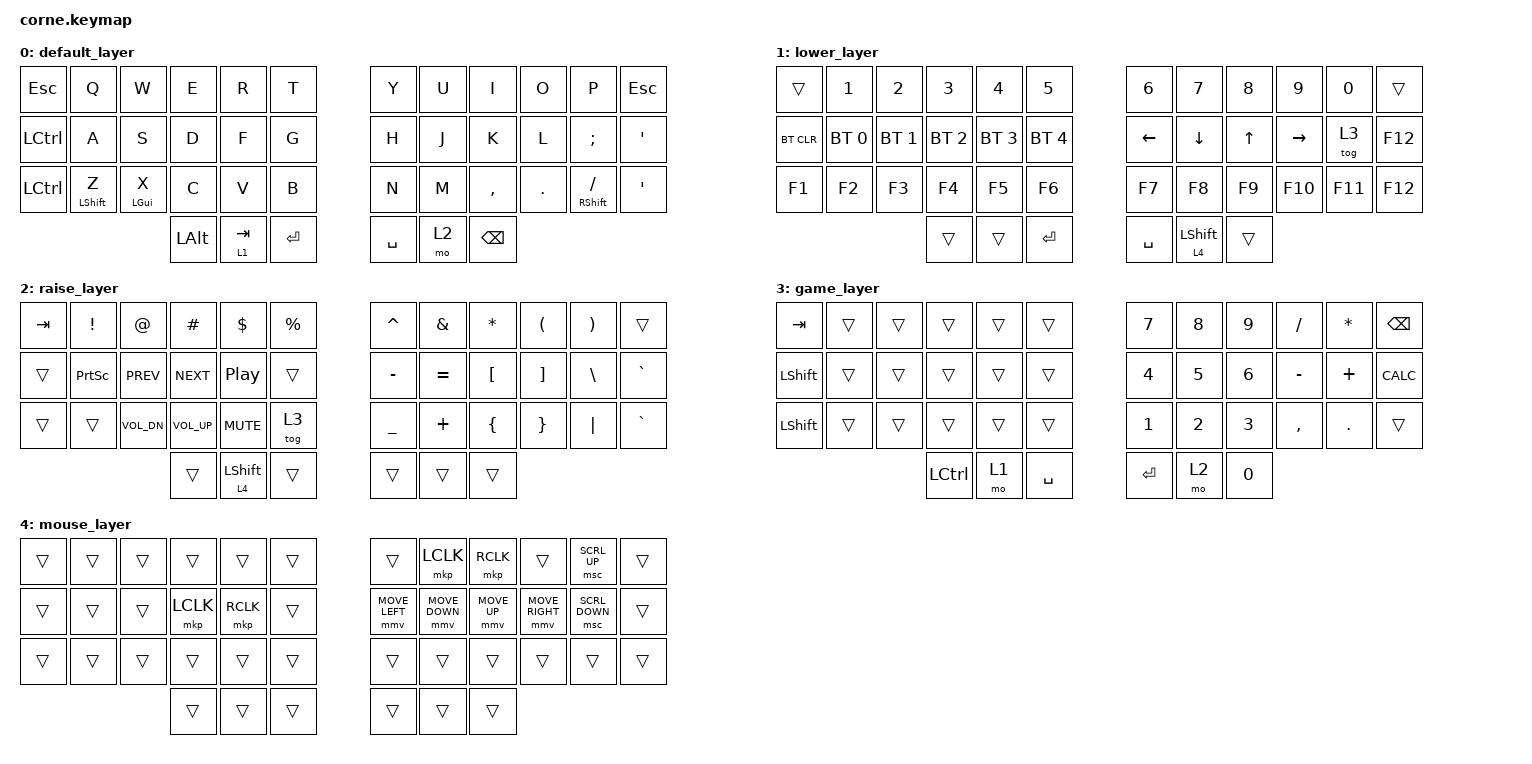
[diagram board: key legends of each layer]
/*
 * Copyright (c) 2020 The ZMK Contributors
 *
 * SPDX-License-Identifier: MIT
 */

#include <behaviors.dtsi>
#include <dt-bindings/zmk/bt.h>
#include <dt-bindings/zmk/keys.h>
#include <dt-bindings/zmk/outputs.h>
#include <dt-bindings/zmk/pointing.h>
#include <dt-bindings/zmk/pointing.h>
#include <dt-bindings/zmk/pointing.h>

#define ZMK_POINTING_DEFAULT_MOVE_VAL 1500
#define ZMK_POINTING_DEFAULT_SCRL_VAL 20

/ {
    combos {
        compatible = "zmk,combos";

        comboesc {
            bindings = <&kp ESC>;
            key-positions = <1 2>;
        };
    };

    keymap {
        compatible = "zmk,keymap";

        default_layer {
            // -----------------------------------------------------------------------------------------
            // |  TAB |  Q  |  W  |  E  |  R  |  T  |   |  Y  |  U   |  I  |  O  |  P  | BKSP |
            // | SHFT |  A  |  S  |  D  |  F  |  G  |   |  H  |  J   |  K  |  L  |  ;  |  '   |
            // | CTRL |  Z  |  X  |  C  |  V  |  B  |   |  N  |  M   |  ,  |  .  |  /  | ESC  |
            //                    | ALT | LWR | ENT |   | SPC | RSE  | GUI |

            bindings = <
&kp ESC    &kp Q             &kp W           &kp E     &kp R      &kp T      &kp Y      &kp U  &kp I      &kp O    &kp P                 &kp ESC
&kp LCTRL  &kp A             &kp S           &kp D     &kp F      &kp G      &kp H      &kp J  &kp K      &kp L    &kp SEMI              &kp SQT
&kp LCTRL  &mt LEFT_SHIFT Z  &mt LEFT_GUI X  &kp C     &kp V      &kp B      &kp N      &kp M  &kp COMMA  &kp DOT  &mt RIGHT_SHIFT FSLH  &kp SQT
                                             &kp LALT  &lt 1 TAB  &kp RET    &kp SPACE  &mo 2  &kp BSPC
            >;
        };

        lower_layer {
            // -----------------------------------------------------------------------------------------
            // |  TAB |  1  |  2  |  3  |  4  |  5  |   |  6  |  7  |  8  |  9  |  0  | BKSP |
            // | BTCLR| BT1 | BT2 | BT3 | BT4 | BT5 |   | LFT | DWN |  UP | RGT |     |  f12 |
            // | CTRL |  f1 | f2  |  f3 | f4  |  f5 |   |  f6 |  f7 |  f8 |  f9 |  f10 | f11 |
            //                    | ALT |     | ENT |   | SPC |     | GUI |

            bindings = <
&trans      &kp N1        &kp N2        &kp N3        &kp N4        &kp N5          &kp N6     &kp N7            &kp N8  &kp N9     &kp N0   &trans
&bt BT_CLR  &bt BT_SEL 0  &bt BT_SEL 1  &bt BT_SEL 2  &bt BT_SEL 3  &bt BT_SEL 4    &kp LEFT   &kp DOWN          &kp UP  &kp RIGHT  &tog 3   &kp F12
&kp F1      &kp F2        &kp F3        &kp F4        &kp F5        &kp F6          &kp F7     &kp F8            &kp F9  &kp F10    &kp F11  &kp F12
                                        &trans        &trans        &kp RET         &kp SPACE  &lt 4 LEFT_SHIFT  &trans
            >;
        };

        raise_layer {
            // -----------------------------------------------------------------------------------------
            // |  TAB |  !  |  @  |  #  |  $  |  %  |   |  ^  |  &  |  *  |  (  |  )  | BKSP |
            // | SHFT |PSCRN|C_PRV|C_NX | C_PP|     |   |  -  |  =  |  [  |  ]  |  \  |  `   |
            // | CTRL |     |V_DN | V_UP|V_MT | TG3 |   |  _  |  +  |  {  |  }  | "|" |  ~   |
            //                    | ALT |     | ENT |   | SPC |     | GUI |

            bindings = <
&kp TAB  &kp EXCL   &kp AT        &kp HASH      &kp DLLR          &kp PRCNT    &kp CARET  &kp AMPS   &kp ASTRK  &kp LPAR  &kp RPAR  &trans
&trans   &kp PSCRN  &kp C_PREV    &kp C_NEXT    &kp C_PP          &trans       &kp MINUS  &kp EQUAL  &kp LBKT   &kp RBKT  &kp BSLH  &kp GRAVE
&trans   &trans     &kp C_VOL_DN  &kp C_VOL_UP  &kp C_MUTE        &tog 3       &kp UNDER  &kp PLUS   &kp LBRC   &kp RBRC  &kp PIPE  &kp GRAVE
                                  &trans        &lt 4 LEFT_SHIFT  &trans       &trans     &trans     &trans
            >;
        };

        game_layer {
            // -----------------------------------------------------------------------------------------
            // |  TAB |     |     |     |     |     |   |  7  |  8  |  9  |  /  |  *  | BKSP |
            // | SHFT |     |     |     |     |     |   |  4  |  5  |  6  |  -  |  +  | CALC |
            // | SHFT |     |     |     |     |     |   |  1  |  2  |  3  |  ,  |  .  | ESC  |
            //                    | CTRL| LWR | SPC |   | ENT | RSE |  0  |

            bindings = <
&kp TAB    &trans  &trans  &trans     &trans  &trans       &kp N7   &kp N8  &kp N9  &kp FSLH   &kp ASTRK  &kp BSPC
&kp LSHFT  &trans  &trans  &trans     &trans  &trans       &kp N4   &kp N5  &kp N6  &kp MINUS  &kp PLUS   &kp K_CALC
&kp LSHFT  &trans  &trans  &trans     &trans  &trans       &kp N1   &kp N2  &kp N3  &kp COMMA  &kp DOT    &trans
                           &kp LCTRL  &mo 1   &kp SPACE    &kp RET  &mo 2   &kp N0
            >;
        };

        mouse_layer {
            bindings = <
&trans  &trans  &trans  &trans     &trans     &trans      &trans          &mkp LCLK       &mkp RCLK     &trans           &msc SCRL_UP    &trans
&trans  &trans  &trans  &mkp LCLK  &mkp RCLK  &trans      &mmv MOVE_LEFT  &mmv MOVE_DOWN  &mmv MOVE_UP  &mmv MOVE_RIGHT  &msc SCRL_DOWN  &trans
&trans  &trans  &trans  &trans     &trans     &trans      &trans          &trans          &trans        &trans           &trans          &trans
                        &trans     &trans     &trans      &trans          &trans          &trans
            >;
        };
    };
};

